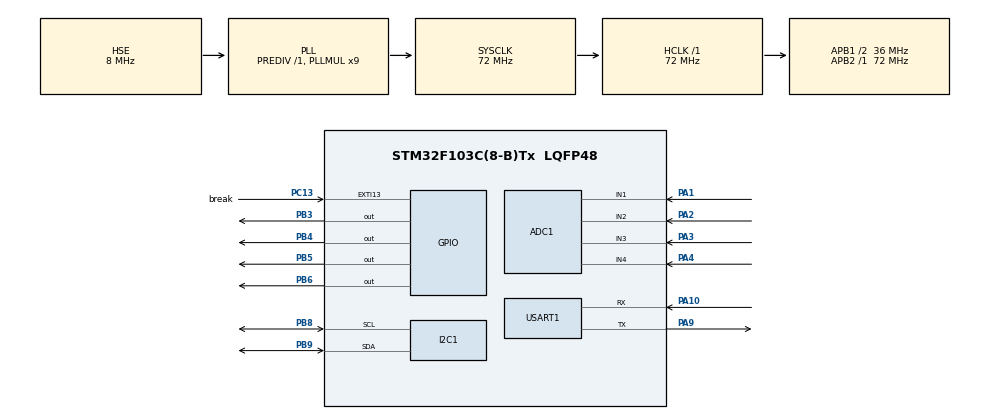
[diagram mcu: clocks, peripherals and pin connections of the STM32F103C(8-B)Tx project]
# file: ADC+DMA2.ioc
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ADC1.Channel-0\#ChannelRegularConversion=ADC_CHANNEL_1
ADC1.Channel-1\#ChannelRegularConversion=ADC_CHANNEL_2
ADC1.Channel-2\#ChannelRegularConversion=ADC_CHANNEL_3
ADC1.Channel-3\#ChannelRegularConversion=ADC_CHANNEL_4
ADC1.ContinuousConvMode=ENABLE
ADC1.NbrOfConversion=4
ADC1.NbrOfConversionFlag=1
ADC1.Rank-0\#ChannelRegularConversion=1
ADC1.Rank-1\#ChannelRegularConversion=2
ADC1.Rank-2\#ChannelRegularConversion=3
ADC1.Rank-3\#ChannelRegularConversion=4
ADC1.SamplingTime-0\#ChannelRegularConversion=ADC_SAMPLETIME_1CYCLE_5
ADC1.SamplingTime-1\#ChannelRegularConversion=ADC_SAMPLETIME_1CYCLE_5
ADC1.SamplingTime-2\#ChannelRegularConversion=ADC_SAMPLETIME_1CYCLE_5
ADC1.SamplingTime-3\#ChannelRegularConversion=ADC_SAMPLETIME_1CYCLE_5
ADC1.master=1
Dma.ADC1.0.Direction=DMA_PERIPH_TO_MEMORY
Dma.ADC1.0.Instance=DMA1_Channel1
Dma.ADC1.0.MemDataAlignment=DMA_MDATAALIGN_WORD
Dma.ADC1.0.MemInc=DMA_MINC_ENABLE
Dma.ADC1.0.Mode=DMA_CIRCULAR
Dma.ADC1.0.PeriphDataAlignment=DMA_PDATAALIGN_WORD
Dma.ADC1.0.PeriphInc=DMA_PINC_DISABLE
Dma.ADC1.0.Priority=DMA_PRIORITY_LOW
Dma.Request0=ADC1
Mcu.Family=STM32F1
Mcu.Name=STM32F103C(8-B)Tx
Mcu.Package=LQFP48
NVIC.DMA1_Channel1_IRQn=true\:0\:0\:false\:false\:true\:false\:true\:true
NVIC.PriorityGroup=NVIC_PRIORITYGROUP_4
PA1.Signal=ADCx_IN1
PA10.Mode=Asynchronous
PA10.Signal=USART1_RX
PA13.Mode=Serial_Wire
PA13.Signal=SYS_JTMS-SWDIO
PA14.Mode=Serial_Wire
PA14.Signal=SYS_JTCK-SWCLK
PA2.Signal=ADCx_IN2
PA3.Signal=ADCx_IN3
PA4.Signal=ADCx_IN4
PA9.Mode=Asynchronous
PA9.Signal=USART1_TX
PB3.Signal=GPIO_Output
PB4.Signal=GPIO_Output
PB5.Signal=GPIO_Output
PB6.Signal=GPIO_Output
PB8.Mode=I2C
PB8.Signal=I2C1_SCL
PB9.Mode=I2C
PB9.Signal=I2C1_SDA
PC13-TAMPER-RTC.GPIO_Label=break
PC13-TAMPER-RTC.Signal=GPXTI13
PD0-OSC_IN.Mode=HSE-External-Oscillator
PD0-OSC_IN.Signal=RCC_OSC_IN
PD1-OSC_OUT.Mode=HSE-External-Oscillator
PD1-OSC_OUT.Signal=RCC_OSC_OUT
ProjectManager.HeapSize=0x200
ProjectManager.StackSize=0x400
ProjectManager.TargetToolchain=MDK-ARM V5.32
RCC.ADCPresc=RCC_ADCPCLK2_DIV8
RCC.AHBFreq_Value=72000000
RCC.APB1CLKDivider=RCC_HCLK_DIV2
RCC.APB1Freq_Value=36000000
RCC.APB1TimFreq_Value=72000000
RCC.APB2Freq_Value=72000000
RCC.APB2TimFreq_Value=72000000
RCC.HCLKFreq_Value=72000000
RCC.PLLMUL=RCC_PLL_MUL9
RCC.PLLSourceVirtual=RCC_PLLSOURCE_HSE
RCC.SYSCLKFreq_VALUE=72000000
RCC.SYSCLKSource=RCC_SYSCLKSOURCE_PLLCLK
RCC.USBFreq_Value=72000000
SH.ADCx_IN1.0=ADC1_IN1,IN1
SH.ADCx_IN2.0=ADC1_IN2,IN2
SH.ADCx_IN3.0=ADC1_IN3,IN3
SH.ADCx_IN4.0=ADC1_IN4,IN4
USART1.VirtualMode=VM_ASYNC
board=custom

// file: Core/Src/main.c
/* USER CODE BEGIN Header */
/**
  ******************************************************************************
  * @file           : main.c
  * @brief          : Main program body
  ******************************************************************************
  * @attention
  *
  * Copyright (c) 2023 STMicroelectronics.
  * All rights reserved.
  *
  * This software is licensed under terms that can be found in the LICENSE file
  * in the root directory of this software component.
  * If no LICENSE file comes with this software, it is provided AS-IS.
  *
  ******************************************************************************
  */
/* USER CODE END Header */
#include "main.h"
#include "adc.h"
#include "dma.h"
#include "i2c.h"
#include "usart.h"
#include "gpio.h"

/* USER CODE BEGIN Includes */
#include<stdio.h>
/* USER CODE END Includes */

/* USER CODE BEGIN PV */
uint32_t AD_DMA[4];
   float a, b,c,d,pass_1=0,pass_2=0,pass_3=0,pass_4=0;
	 int adc_time_count=0;

/* USER CODE END PV */

void SystemClock_Config(void);

/* USER CODE BEGIN 0 */
int fputc(int ch, FILE *f){
uint8_t temp[1] = {ch};
HAL_UART_Transmit(&huart1, temp, 1, 2);//huart1需要根据你的配置修改
return ch;
}
/* USER CODE END 0 */

int main(void)
{

  /* MCU Configuration--------------------------------------------------------*/

  /* Reset of all peripherals, Initializes the Flash interface and the Systick. */
  HAL_Init();

  /* Configure the system clock */
  SystemClock_Config();

  /* Initialize all configured peripherals */
  MX_GPIO_Init();
  MX_USART1_UART_Init();
  MX_DMA_Init();
  MX_I2C1_Init();
  MX_ADC1_Init();

  /* Infinite loop */
  while (1)
  {

    /* USER CODE BEGIN 3 */
		 HAL_ADC_Start_DMA(&hadc1, (uint32_t*)AD_DMA, 4);
		a = (float)AD_DMA[0];
     b = (float)AD_DMA[1];
     c = (float)AD_DMA[2];
     d = (float)AD_DMA[3];
     printf("PA1电压为 %.2fV\r\n", a );
     printf("PA2电压为 %.2fV\r\n", b );
     printf("PA3电压为 %.2fV\r\n", c );
     printf("PA4电压为 %.2fV\r\n", d );
     printf("\r\n");
     HAL_Delay(300);
			if(a<=1200|b<=1200|c<=1200|d<=1200)
			{
				if(a<=1200)
				{ HAL_GPIO_WritePin(GPIOB,GPIO_PIN_3,GPIO_PIN_SET);
					HAL_GPIO_WritePin(GPIOB,GPIO_PIN_4,GPIO_PIN_RESET);
					HAL_GPIO_WritePin(GPIOB,GPIO_PIN_5,GPIO_PIN_RESET);
					HAL_GPIO_WritePin(GPIOB,GPIO_PIN_6,GPIO_PIN_RESET);
					 HAL_Delay(300);
				}
		if(b<=1200)
		{
			    HAL_GPIO_WritePin(GPIOB,GPIO_PIN_3,GPIO_PIN_RESET);
					HAL_GPIO_WritePin(GPIOB,GPIO_PIN_4,GPIO_PIN_SET);
					HAL_GPIO_WritePin(GPIOB,GPIO_PIN_5,GPIO_PIN_RESET);
					HAL_GPIO_WritePin(GPIOB,GPIO_PIN_6,GPIO_PIN_RESET);
			 HAL_Delay(300);
		}
		if(c<=1200)
		{
			    HAL_GPIO_WritePin(GPIOB,GPIO_PIN_3,GPIO_PIN_RESET);
					HAL_GPIO_WritePin(GPIOB,GPIO_PIN_4,GPIO_PIN_RESET);
					HAL_GPIO_WritePin(GPIOB,GPIO_PIN_5,GPIO_PIN_SET);
					HAL_GPIO_WritePin(GPIOB,GPIO_PIN_6,GPIO_PIN_RESET);
			 HAL_Delay(300);
		}
		if(d<=1200)
		{
			    HAL_GPIO_WritePin(GPIOB,GPIO_PIN_3,GPIO_PIN_RESET);
					HAL_GPIO_WritePin(GPIOB,GPIO_PIN_4,GPIO_PIN_RESET);
					HAL_GPIO_WritePin(GPIOB,GPIO_PIN_5,GPIO_PIN_RESET);
					HAL_GPIO_WritePin(GPIOB,GPIO_PIN_6,GPIO_PIN_SET);
			 HAL_Delay(300);
		}

  }
			else
			{
				HAL_GPIO_WritePin(GPIOB,GPIO_PIN_3,GPIO_PIN_RESET);
					HAL_GPIO_WritePin(GPIOB,GPIO_PIN_4,GPIO_PIN_RESET);
					HAL_GPIO_WritePin(GPIOB,GPIO_PIN_5,GPIO_PIN_RESET);
					HAL_GPIO_WritePin(GPIOB,GPIO_PIN_6,GPIO_PIN_RESET);
			}
}
  /* USER CODE END 3 */
}

void SystemClock_Config(void)
{
  RCC_OscInitTypeDef RCC_OscInitStruct = {0};
  RCC_ClkInitTypeDef RCC_ClkInitStruct = {0};
  RCC_PeriphCLKInitTypeDef PeriphClkInit = {0};

  /** Initializes the RCC Oscillators according to the specified parameters
  * in the RCC_OscInitTypeDef structure.
  */
  RCC_OscInitStruct.OscillatorType = RCC_OSCILLATORTYPE_HSE;
  RCC_OscInitStruct.HSEState = RCC_HSE_ON;
  RCC_OscInitStruct.HSEPredivValue = RCC_HSE_PREDIV_DIV1;
  RCC_OscInitStruct.HSIState = RCC_HSI_ON;
  RCC_OscInitStruct.PLL.PLLState = RCC_PLL_ON;
  RCC_OscInitStruct.PLL.PLLSource = RCC_PLLSOURCE_HSE;
  RCC_OscInitStruct.PLL.PLLMUL = RCC_PLL_MUL9;
  if (HAL_RCC_OscConfig(&RCC_OscInitStruct) != HAL_OK)
  {
    Error_Handler();
  }

  /** Initializes the CPU, AHB and APB buses clocks
  */
  RCC_ClkInitStruct.ClockType = RCC_CLOCKTYPE_HCLK|RCC_CLOCKTYPE_SYSCLK
                              |RCC_CLOCKTYPE_PCLK1|RCC_CLOCKTYPE_PCLK2;
  RCC_ClkInitStruct.SYSCLKSource = RCC_SYSCLKSOURCE_PLLCLK;
  RCC_ClkInitStruct.AHBCLKDivider = RCC_SYSCLK_DIV1;
  RCC_ClkInitStruct.APB1CLKDivider = RCC_HCLK_DIV2;
  RCC_ClkInitStruct.APB2CLKDivider = RCC_HCLK_DIV1;

  if (HAL_RCC_ClockConfig(&RCC_ClkInitStruct, FLASH_LATENCY_2) != HAL_OK)
  {
    Error_Handler();
  }
  PeriphClkInit.PeriphClockSelection = RCC_PERIPHCLK_ADC;
  PeriphClkInit.AdcClockSelection = RCC_ADCPCLK2_DIV8;
  if (HAL_RCCEx_PeriphCLKConfig(&PeriphClkInit) != HAL_OK)
  {
    Error_Handler();
  }
}

void Error_Handler(void)
{
  __disable_irq();
  while (1)
  {
  }
}
